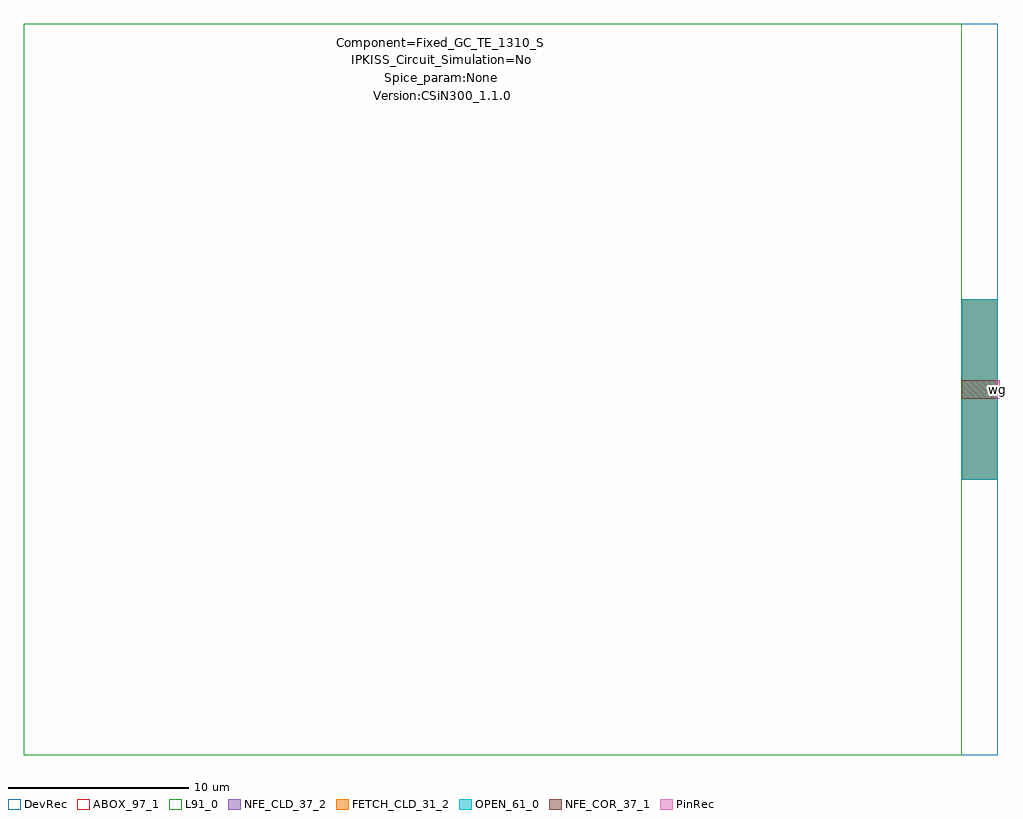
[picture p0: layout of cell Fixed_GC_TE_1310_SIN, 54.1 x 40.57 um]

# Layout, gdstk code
import gdstk
lib = gdstk.Library(unit=1e-6, precision=1e-09)
def R(c, l, rs):  # rectangles x0, y0, x1, y1
    for r in rs: c.add(gdstk.rectangle(r[:2], r[2:], *l))
FETCH_CLD_31_2 = (31, 2)
NFE_COR_37_1 = (37, 1)
NFE_CLD_37_2 = (37, 2)
OPEN_61_0 = (61, 0)
L91_0 = (91, 0)
PinRec = (95, 0)
ABOX_97_1 = (97, 1)
DevRec = (1001, 0)

fixed_gc_te_1310_sin = lib.new_cell('Fixed_GC_TE_1310_SIN')
R(fixed_gc_te_1310_sin, FETCH_CLD_31_2, [(-2,-5,0,5)])
R(fixed_gc_te_1310_sin, NFE_COR_37_1, [(-2,-0.5,0,0.5)])
R(fixed_gc_te_1310_sin, NFE_CLD_37_2, [(-2,-5,0,5)])
R(fixed_gc_te_1310_sin, OPEN_61_0, [(-2,-5,0,5)])
R(fixed_gc_te_1310_sin, L91_0, [(-54,-20.287,-2,20.287)])
R(fixed_gc_te_1310_sin, ABOX_97_1, [(-54,-20.287,-2,20.287)])
R(fixed_gc_te_1310_sin, DevRec, [(-54,-20.287,0,20.287)])
fixed_gc_te_1310_sin.add(gdstk.FlexPath([(-0.1,0),(0.1,0)], 1, ends="flush", simple_path=True, layer=95, datatype=0))  # PinRec
fixed_gc_te_1310_sin.add(gdstk.Label('wg', (0,-0.011), layer=95, texttype=0))
fixed_gc_te_1310_sin.add(gdstk.Label('Component=Fixed_GC_TE_1310_SIN', (-30.87,19.25), layer=1001, texttype=0))
fixed_gc_te_1310_sin.add(gdstk.Label('IPKISS_Circuit_Simulation=None', (-30.81,18.29), layer=1001, texttype=0))
fixed_gc_te_1310_sin.add(gdstk.Label('Spice_param:None', (-30.81,17.27), layer=1001, texttype=0))
fixed_gc_te_1310_sin.add(gdstk.Label('Version:CSiN300_1.1.0', (-30.79,16.28), layer=1001, texttype=0))

lib.write_gds('Fixed_GC_TE_1310_SIN.gds')
